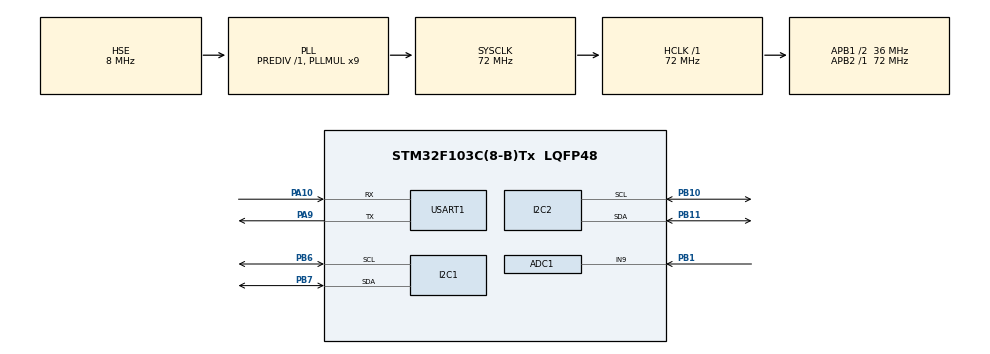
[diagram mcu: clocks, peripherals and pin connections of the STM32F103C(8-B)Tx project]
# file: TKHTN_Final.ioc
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ADC1.Channel-0\#ChannelRegularConversion=ADC_CHANNEL_9
ADC1.NbrOfConversionFlag=1
ADC1.Rank-0\#ChannelRegularConversion=1
ADC1.SamplingTime-0\#ChannelRegularConversion=ADC_SAMPLETIME_1CYCLE_5
ADC1.master=1
Mcu.Family=STM32F1
Mcu.Name=STM32F103C(8-B)Tx
Mcu.Package=LQFP48
NVIC.PriorityGroup=NVIC_PRIORITYGROUP_4
NVIC.TIM2_IRQn=true\:0\:0\:false\:false\:true\:true\:true\:true
NVIC.USART1_IRQn=true\:0\:0\:false\:false\:true\:true\:true\:true
PA10.Mode=Asynchronous
PA10.Signal=USART1_RX
PA13.Mode=Serial_Wire
PA13.Signal=SYS_JTMS-SWDIO
PA14.Mode=Serial_Wire
PA14.Signal=SYS_JTCK-SWCLK
PA9.Mode=Asynchronous
PA9.Signal=USART1_TX
PB1.Signal=ADCx_IN9
PB10.Mode=I2C
PB10.Signal=I2C2_SCL
PB11.Mode=I2C
PB11.Signal=I2C2_SDA
PB6.Mode=I2C
PB6.Signal=I2C1_SCL
PB7.Mode=I2C
PB7.Signal=I2C1_SDA
PD0-OSC_IN.Mode=HSE-External-Oscillator
PD0-OSC_IN.Signal=RCC_OSC_IN
PD1-OSC_OUT.Mode=HSE-External-Oscillator
PD1-OSC_OUT.Signal=RCC_OSC_OUT
ProjectManager.HeapSize=0x400
ProjectManager.StackSize=0x600
ProjectManager.TargetToolchain=MDK-ARM V5.32
RCC.ADCPresc=RCC_ADCPCLK2_DIV6
RCC.AHBFreq_Value=72000000
RCC.APB1CLKDivider=RCC_HCLK_DIV2
RCC.APB1Freq_Value=36000000
RCC.APB1TimFreq_Value=72000000
RCC.APB2Freq_Value=72000000
RCC.APB2TimFreq_Value=72000000
RCC.HCLKFreq_Value=72000000
RCC.PLLMUL=RCC_PLL_MUL9
RCC.PLLSourceVirtual=RCC_PLLSOURCE_HSE
RCC.SYSCLKFreq_VALUE=72000000
RCC.SYSCLKSource=RCC_SYSCLKSOURCE_PLLCLK
RCC.USBFreq_Value=72000000
SH.ADCx_IN9.0=ADC1_IN9,IN9
TIM2.AutoReloadPreload=TIM_AUTORELOAD_PRELOAD_ENABLE
TIM2.Period=1999
TIM2.Prescaler=35999
USART1.VirtualMode=VM_ASYNC
VP_TIM2_VS_ClockSourceINT.Mode=Internal
board=custom

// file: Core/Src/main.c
/* USER CODE BEGIN Header */
/**
  ******************************************************************************
  * @file           : main.c
  * @brief          : Main program body
  ******************************************************************************
  * @attention
  *
  * Copyright (c) 2026 STMicroelectronics.
  * All rights reserved.
  *
  * This software is licensed under terms that can be found in the LICENSE file
  * in the root directory of this software component.
  * If no LICENSE file comes with this software, it is provided AS-IS.
  *
  ******************************************************************************
  */
/* USER CODE END Header */
#include "main.h"
#include "adc.h"
#include "i2c.h"
#include "tim.h"
#include "usart.h"
#include "gpio.h"

/* USER CODE BEGIN Includes */
#include <stdio.h>
#include <string.h>
#include <stdlib.h>
#include <stdarg.h> // Thu vien cho va_list
#include "sht31.h"
#include "soil_moisture.h"
#include "simple_scheduler.h"
#include "lcd_i2c.h"
/* USER CODE END Includes */

/* USER CODE BEGIN PTD */
typedef enum {
    DISP_TEMP,
    DISP_HUMI,
    DISP_SOIL,
    DISP_ALL
} DisplayMode_t;
/* USER CODE END PTD */

/* USER CODE BEGIN PD */
#define RX_BUF_SIZE 32
/* USER CODE END PD */

/* USER CODE BEGIN PV */
sht31_t sensor_sht;
SoilSensor sensor_soil;
uint8_t ID_SHT = 0;
uint8_t ID_SOIL = 0;
uint8_t ID_LCD = 0;
uint8_t ID_UART = 0;
float val_temp = 0.0f;
float val_hum = 0.0f;

uint8_t rx_data[RX_BUF_SIZE];
char cmd_buffer[RX_BUF_SIZE];
uint8_t rx_indx = 0;
volatile uint8_t flag_cmd = 0;
DisplayMode_t disp_mode = DISP_ALL;
char log_buffer[100];
/* USER CODE END PV */

void SystemClock_Config(void);
/* USER CODE BEGIN PFP */
void Debug_Log(const char *format, ...);
/* USER CODE END PFP */

/* USER CODE BEGIN 0 */
void Debug_Log(const char *format, ...) {
    va_list args;
    va_start(args, format);
    vsnprintf(log_buffer, sizeof(log_buffer), format, args);
    va_end(args);
    HAL_UART_Transmit(&huart1, (uint8_t *)log_buffer, strlen(log_buffer), 100);
}

void HAL_UART_RxCpltCallback(UART_HandleTypeDef *huart) {
    if (huart->Instance == USART1) {
        uint8_t received_char = rx_data[rx_indx];
        if (received_char == '\n' || received_char == '\r') {
            rx_data[rx_indx] = '\0';
            if (rx_indx > 0) {
                strcpy(cmd_buffer, (char*)rx_data);
                flag_cmd = 1;
            }
            rx_indx = 0;
        } else {
            rx_indx++;
            if (rx_indx >= RX_BUF_SIZE) rx_indx = 0;
        }
        HAL_UART_Receive_IT(&huart1, &rx_data[rx_indx], 1);
    }
}

void Task_MeasureSHT(void) {
    sht31_read(&sensor_sht, &val_temp, &val_hum);
}

void Task_MeasureSoil(void) {
    Soil_Read(&sensor_soil);
}

void Task_UpdateLCD(void) {
    char line1[17];
    char line2[17];
    memset(line1, ' ', 16); line1[16] = '\0';
    memset(line2, ' ', 16); line2[16] = '\0';
    switch (disp_mode) {
        case DISP_TEMP:
            snprintf(line1, 17, "T: %.1f C        ", val_temp);
            break;
        case DISP_HUMI:
            snprintf(line1, 17, "H: %.1f %%        ", val_hum);
            break;
        case DISP_SOIL:
            snprintf(line1, 17, "Soil: %.1f %%    ", sensor_soil.percent);
            break;
        case DISP_ALL:
            snprintf(line1, 17, "T:%.0fC H:%.0f%%     ", val_temp, val_hum);
            snprintf(line2, 17, "Soil: %.0f%%       ", sensor_soil.percent);
            break;
    }
    LCD_Put_Cur(0, 0); LCD_Send_String(line1);
    LCD_Put_Cur(1, 0); LCD_Send_String(line2);
}
void Task_Send_UART(void){
    Debug_Log("DATA: Temp=%.2f, Hum=%.2f, Soil=%.2f\r\n", val_temp, val_hum, sensor_soil.percent);
}
void Task_ProcessUART(void) {
    if (!flag_cmd) return; // Nếu không có lệnh mới thì thoát

    char cmd_type;
    int value;
    if (sscanf(cmd_buffer, "%c:%d", &cmd_type, &value) == 2) {
        switch(cmd_type) {
            // --- LỆNH THAY ĐỔI CHU KỲ (PERIOD) ---
            case 'P':
            case 'p':
                // Giới hạn từ 100ms đến 30000ms (30 giây)
                if (value >= 100 && value <= 30000) {

                    // CÔNG THỨC MỚI VỚI PSC = 35999 (0.5ms/tick)
                    // ARR = (Time_ms / 0.5) - 1  <=>  ARR = (Time_ms * 2) - 1
                    uint32_t new_arr = (value * 2) - 1;

                    __HAL_TIM_SET_AUTORELOAD(&htim2, new_arr);
                    __HAL_TIM_SET_COUNTER(&htim2, 0); // Reset để áp dụng ngay

                    Debug_Log("OK: Period set to %d ms (ARR=%d)\r\n", value, new_arr);
                } else {
                    Debug_Log("Err: Range 100 - 30000 ms\r\n");
                }
                break;

            // --- LỆNH THAY ĐỔI CHẾ ĐỘ HIỂN THỊ ---
            case 'D':
            case 'd':
                if (value >= 0 && value <= 3) {
                    disp_mode = (DisplayMode_t)value;
                    Debug_Log("OK: Display Mode %d\r\n", value);
                } else {
                    Debug_Log("Err: Mode 0-3\r\n");
                }
                break;

            default:
                Debug_Log("Err: Cmd Error\r\n");
                break;
        }
    }
    flag_cmd = 0;
    memset(cmd_buffer, 0, RX_BUF_SIZE);
	}
/* USER CODE END 0 */

int main(void)
{

  /* MCU Configuration--------------------------------------------------------*/

  /* Reset of all peripherals, Initializes the Flash interface and the Systick. */
  HAL_Init();

  /* Configure the system clock */
  SystemClock_Config();

  /* Initialize all configured peripherals */
  MX_GPIO_Init();
  MX_ADC1_Init();
  MX_I2C1_Init();
  MX_I2C2_Init();
  MX_TIM2_Init();
  MX_USART1_UART_Init();
  /* USER CODE BEGIN 2 */
	sht31_init(&sensor_sht, &hi2c1, SHT31_ADDR_LO);
  Soil_Init(&sensor_soil, &hadc1, 0, 0);

	LCD_Init();
  LCD_Put_Cur(0, 0);
	LCD_Send_String("Mode: Simple");
  LCD_Put_Cur(1, 0);
	LCD_Send_String("Periodic Scheduler");
  HAL_Delay(1000);
  LCD_Clear();

	HAL_UART_Receive_IT(&huart1, &rx_data[rx_indx], 1);
  Debug_Log("System Ready. Waiting for Timer...\r\n");

  SCH_Init();
	SCH_Add_Task(Task_MeasureSHT);
  SCH_Add_Task(Task_MeasureSoil);
  SCH_Add_Task(Task_UpdateLCD);
  SCH_Add_Task(Task_Send_UART);
  SCH_Set_Wakeup_Callback(Task_ProcessUART);

  /* USER CODE END 2 */

  /* Infinite loop */
  /* USER CODE BEGIN WHILE */
  while (1)
  {
		SCH_Run_Cycle();
    /* USER CODE END WHILE */

  }
}

void SystemClock_Config(void)
{
  RCC_OscInitTypeDef RCC_OscInitStruct = {0};
  RCC_ClkInitTypeDef RCC_ClkInitStruct = {0};
  RCC_PeriphCLKInitTypeDef PeriphClkInit = {0};

  /** Initializes the RCC Oscillators according to the specified parameters
  * in the RCC_OscInitTypeDef structure.
  */
  RCC_OscInitStruct.OscillatorType = RCC_OSCILLATORTYPE_HSE;
  RCC_OscInitStruct.HSEState = RCC_HSE_ON;
  RCC_OscInitStruct.HSEPredivValue = RCC_HSE_PREDIV_DIV1;
  RCC_OscInitStruct.HSIState = RCC_HSI_ON;
  RCC_OscInitStruct.PLL.PLLState = RCC_PLL_ON;
  RCC_OscInitStruct.PLL.PLLSource = RCC_PLLSOURCE_HSE;
  RCC_OscInitStruct.PLL.PLLMUL = RCC_PLL_MUL9;
  if (HAL_RCC_OscConfig(&RCC_OscInitStruct) != HAL_OK)
  {
    Error_Handler();
  }

  /** Initializes the CPU, AHB and APB buses clocks
  */
  RCC_ClkInitStruct.ClockType = RCC_CLOCKTYPE_HCLK|RCC_CLOCKTYPE_SYSCLK
                              |RCC_CLOCKTYPE_PCLK1|RCC_CLOCKTYPE_PCLK2;
  RCC_ClkInitStruct.SYSCLKSource = RCC_SYSCLKSOURCE_PLLCLK;
  RCC_ClkInitStruct.AHBCLKDivider = RCC_SYSCLK_DIV1;
  RCC_ClkInitStruct.APB1CLKDivider = RCC_HCLK_DIV2;
  RCC_ClkInitStruct.APB2CLKDivider = RCC_HCLK_DIV1;

  if (HAL_RCC_ClockConfig(&RCC_ClkInitStruct, FLASH_LATENCY_2) != HAL_OK)
  {
    Error_Handler();
  }
  PeriphClkInit.PeriphClockSelection = RCC_PERIPHCLK_ADC;
  PeriphClkInit.AdcClockSelection = RCC_ADCPCLK2_DIV6;
  if (HAL_RCCEx_PeriphCLKConfig(&PeriphClkInit) != HAL_OK)
  {
    Error_Handler();
  }
}

void Error_Handler(void)
{
  __disable_irq();
  while (1)
  {
  }
}
